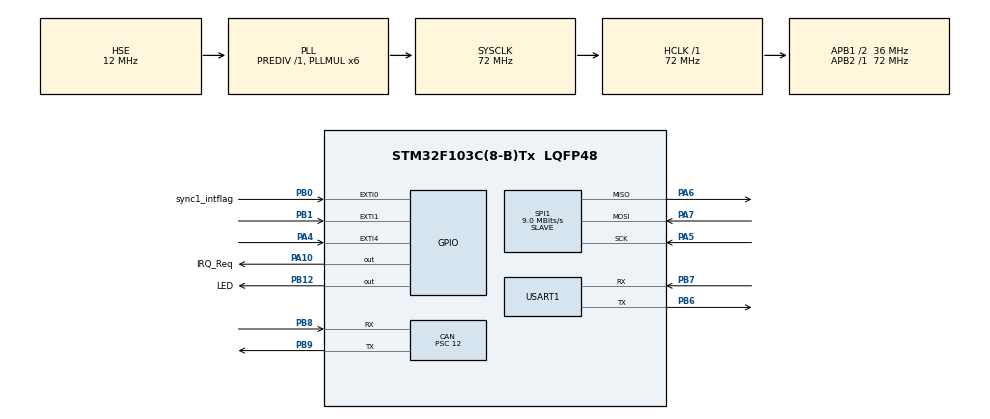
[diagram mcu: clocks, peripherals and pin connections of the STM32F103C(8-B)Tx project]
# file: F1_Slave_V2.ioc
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CAN.BS1=CAN_BS1_3TQ
CAN.BS2=CAN_BS2_2TQ
CAN.CalculateTimeBit=2000
CAN.CalculateTimeQuantum=333.33333333333337
CAN.Prescaler=12
CAN.SJW=CAN_SJW_2TQ
Dma.Request0=SPI1_RX
Dma.Request1=SPI1_TX
Dma.SPI1_RX.0.Direction=DMA_PERIPH_TO_MEMORY
Dma.SPI1_RX.0.Instance=DMA1_Channel2
Dma.SPI1_RX.0.MemDataAlignment=DMA_MDATAALIGN_BYTE
Dma.SPI1_RX.0.MemInc=DMA_MINC_ENABLE
Dma.SPI1_RX.0.Mode=DMA_NORMAL
Dma.SPI1_RX.0.PeriphDataAlignment=DMA_PDATAALIGN_BYTE
Dma.SPI1_RX.0.PeriphInc=DMA_PINC_DISABLE
Dma.SPI1_RX.0.Priority=DMA_PRIORITY_VERY_HIGH
Dma.SPI1_TX.1.Direction=DMA_MEMORY_TO_PERIPH
Dma.SPI1_TX.1.Instance=DMA1_Channel3
Dma.SPI1_TX.1.MemDataAlignment=DMA_MDATAALIGN_BYTE
Dma.SPI1_TX.1.MemInc=DMA_MINC_ENABLE
Dma.SPI1_TX.1.Mode=DMA_NORMAL
Dma.SPI1_TX.1.PeriphDataAlignment=DMA_PDATAALIGN_BYTE
Dma.SPI1_TX.1.PeriphInc=DMA_PINC_DISABLE
Dma.SPI1_TX.1.Priority=DMA_PRIORITY_VERY_HIGH
Mcu.Family=STM32F1
Mcu.Name=STM32F103C(8-B)Tx
Mcu.Package=LQFP48
NVIC.CAN1_RX1_IRQn=true\:0\:0\:false\:false\:true\:true\:true
NVIC.DMA1_Channel2_IRQn=true\:0\:0\:false\:false\:true\:false\:true
NVIC.DMA1_Channel3_IRQn=true\:0\:0\:false\:false\:true\:false\:true
NVIC.EXTI0_IRQn=true\:0\:0\:false\:false\:true\:true\:true
NVIC.EXTI1_IRQn=true\:0\:0\:false\:false\:true\:true\:true
NVIC.EXTI4_IRQn=true\:0\:0\:false\:false\:true\:true\:true
NVIC.PriorityGroup=NVIC_PRIORITYGROUP_4
NVIC.TIM4_IRQn=true\:0\:0\:false\:false\:true\:true\:true
NVIC.USB_HP_CAN1_TX_IRQn=true\:0\:0\:false\:false\:true\:true\:true
NVIC.USB_LP_CAN1_RX0_IRQn=true\:0\:0\:false\:false\:true\:true\:true
PA10.GPIO_Label=IRQ_Req
PA10.Signal=GPIO_Output
PA13.Mode=Serial_Wire
PA13.Signal=SYS_JTMS-SWDIO
PA14.Mode=Serial_Wire
PA14.Signal=SYS_JTCK-SWCLK
PA4.GPIO_ModeDefaultEXTI=GPIO_MODE_IT_RISING_FALLING
PA4.Signal=GPXTI4
PA5.Mode=Full_Duplex_Slave
PA5.Signal=SPI1_SCK
PA6.Mode=Full_Duplex_Slave
PA6.Signal=SPI1_MISO
PA7.Mode=Full_Duplex_Slave
PA7.Signal=SPI1_MOSI
PB0.GPIO_Label=sync1_intflag
PB0.Signal=GPXTI0
PB1.Signal=GPXTI1
PB12.GPIO_Label=LED
PB12.Signal=GPIO_Output
PB6.Mode=Asynchronous
PB6.Signal=USART1_TX
PB7.Mode=Asynchronous
PB7.Signal=USART1_RX
PB8.Mode=Master
PB8.Signal=CAN_RX
PB9.Mode=Master
PB9.Signal=CAN_TX
PD0-OSC_IN.Mode=HSE-External-Oscillator
PD0-OSC_IN.Signal=RCC_OSC_IN
PD1-OSC_OUT.Mode=HSE-External-Oscillator
PD1-OSC_OUT.Signal=RCC_OSC_OUT
ProjectManager.HeapSize=0x200
ProjectManager.StackSize=0x400
ProjectManager.TargetToolchain=MDK-ARM V5
RCC.AHBFreq_Value=72000000
RCC.APB1CLKDivider=RCC_HCLK_DIV2
RCC.APB1Freq_Value=36000000
RCC.APB1TimFreq_Value=72000000
RCC.APB2Freq_Value=72000000
RCC.APB2TimFreq_Value=72000000
RCC.HCLKFreq_Value=72000000
RCC.HSE_VALUE=12000000
RCC.PLLMUL=RCC_PLL_MUL6
RCC.PLLSourceVirtual=RCC_PLLSOURCE_HSE
RCC.SYSCLKFreq_VALUE=72000000
RCC.SYSCLKSource=RCC_SYSCLKSOURCE_PLLCLK
RCC.USBFreq_Value=72000000
SPI1.BaudRatePrescaler=SPI_BAUDRATEPRESCALER_8
SPI1.CalculateBaudRate=9.0 MBits/s
SPI1.Direction=SPI_DIRECTION_2LINES
SPI1.Mode=SPI_MODE_SLAVE
SPI1.VirtualNSS=VM_NSSHARD
SPI1.VirtualType=VM_SLAVE
TIM4.Period=7199
TIM4.Prescaler=9
USART1.VirtualMode=VM_ASYNC
VP_TIM4_VS_ClockSourceINT.Mode=Internal
board=custom

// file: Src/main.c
/* USER CODE BEGIN Header */
/**
  ******************************************************************************
  * @file           : main.c
  * @brief          : Main program body
  ******************************************************************************
  ** This notice applies to any and all portions of this file
  * that are not between comment pairs USER CODE BEGIN and
  * USER CODE END. Other portions of this file, whether
  * inserted by the user or by software development tools
  * are owned by their respective copyright owners.
  *
  * COPYRIGHT(c) 2019 STMicroelectronics
  *
  * Redistribution and use in source and binary forms, with or without modification,
  * are permitted provided that the following conditions are met:
  *   1. Redistributions of source code must retain the above copyright notice,
  *      this list of conditions and the following disclaimer.
  *   2. Redistributions in binary form must reproduce the above copyright notice,
  *      this list of conditions and the following disclaimer in the documentation
  *      and/or other materials provided with the distribution.
  *   3. Neither the name of STMicroelectronics nor the names of its contributors
  *      may be used to endorse or promote products derived from this software
  *      without specific prior written permission.
  *
  * THIS SOFTWARE IS PROVIDED BY THE COPYRIGHT HOLDERS AND CONTRIBUTORS "AS IS"
  * AND ANY EXPRESS OR IMPLIED WARRANTIES, INCLUDING, BUT NOT LIMITED TO, THE
  * IMPLIED WARRANTIES OF MERCHANTABILITY AND FITNESS FOR A PARTICULAR PURPOSE ARE
  * DISCLAIMED. IN NO EVENT SHALL THE COPYRIGHT HOLDER OR CONTRIBUTORS BE LIABLE
  * FOR ANY DIRECT, INDIRECT, INCIDENTAL, SPECIAL, EXEMPLARY, OR CONSEQUENTIAL
  * DAMAGES (INCLUDING, BUT NOT LIMITED TO, PROCUREMENT OF SUBSTITUTE GOODS OR
  * SERVICES; LOSS OF USE, DATA, OR PROFITS; OR BUSINESS INTERRUPTION) HOWEVER
  * CAUSED AND ON ANY THEORY OF LIABILITY, WHETHER IN CONTRACT, STRICT LIABILITY,
  * OR TORT (INCLUDING NEGLIGENCE OR OTHERWISE) ARISING IN ANY WAY OUT OF THE USE
  * OF THIS SOFTWARE, EVEN IF ADVISED OF THE POSSIBILITY OF SUCH DAMAGE.
  *
  ******************************************************************************
  */
/* USER CODE END Header */

#include "main.h"

/* USER CODE BEGIN Includes */
#include "string.h"
#include "spi_stack.h"

#define CONVERT_FAIL_STATUS 1
#define CONVERT_SUCCESS_STATUS 0

#define SPI_SYS_DBUG_MODE 0	//Set this flag to force the CAN subsytem into a simulated data exchange mode. This way we can debug the spi system in an isolated manner
//The artificial values for the sensors in the SPI debug mode
#define ENCODER_DBG_VAL   7
#define FORCE_DBG_VAL			8
/* USER CODE END Includes */

CAN_HandleTypeDef hcan;

SPI_HandleTypeDef hspi1;
DMA_HandleTypeDef hdma_spi1_rx;
DMA_HandleTypeDef hdma_spi1_tx;

TIM_HandleTypeDef htim4;

UART_HandleTypeDef huart1;

/* USER CODE BEGIN PV */
/* Private variables ---------------------------------------------------------*/

/* USER CODE END PV */

void SystemClock_Config(void);
static void MX_GPIO_Init(void);
static void MX_DMA_Init(void);
static void MX_SPI1_Init(void);
static void MX_CAN_Init(void);
static void MX_TIM4_Init(void);
static void MX_USART1_UART_Init(void);
/* USER CODE BEGIN PFP */
/* Private function prototypes -----------------------------------------------*/

/* USER CODE END PFP */

/* USER CODE BEGIN 0 */

//********************************CAN******************************
	CAN_RxHeaderTypeDef RMess;
	CAN_TxHeaderTypeDef TMess;
	uint8_t TxData[8] = {0};
 	uint8_t canRxData[8];
	uint32_t TxMailBox;
	HAL_StatusTypeDef canret;
	volatile int RX_FLAG=0, state=0;
	volatile int RPU_CAN_READ_SENSORS_REQ=0;
	int32_t CAN_CNVT_TIME;
	int LED_BeatFlag=0;
	int CAN_LINK_STATUS=CONVERT_FAIL_STATUS;
char message[32];
	union{
	struct{
	int16_t angOut;
	}Data;
	uint8_t buffer[2];
}CAN_OUT_ANG_PACK;

union{
	struct{
	int32_t enc;
	int16_t force;
	}Data;
	uint8_t buffer[6];
}CAN_IN_SIG_PACK;

//*****************************************************************
char str[100];
extern volatile int spi_tx_finish_flag, sync2_ready;
extern int LED_OFF_DELAY;
extern int LED_ON_DELAY;
extern int LED_WD;
volatile int convert_done_flag=0,sync1_intflag=0;
int32_t convert_time;
//when the Value of the sensor data is received form the RPU unit, its value is stored using this function
void reg_load_converted(void)
{
  int32_t encoder;
	int32_t force;

	if(SPI_SYS_DBUG_MODE)
	{
		encoder=ENCODER_DBG_VAL;
		force	=FORCE_DBG_VAL;
	}
	else
	{
		encoder=CAN_IN_SIG_PACK.Data.enc;
		force	=CAN_IN_SIG_PACK.Data.force;
	}
	//sprintf(message,"Force Measurement= %d \r\n",CAN_IN_SIG_PACK.Data.force);
	//HAL_UART_Transmit(&huart1,message,sizeof(message),10);
	spi_set_register(FORCE_ADDRESS,force);
	spi_set_register(ENCODER_ADDRESS,encoder);
}

//Based on wether the data transaction to the RPU has been valid or not, this function sets the status register
void setStatusReg(int status)
{
	spi_set_register(STATUS_ADDRESS,status);
	CAN_LINK_STATUS=status;
}

//This state maching handles the Motherboard-Card connection which is realized through SPI connection
void SPIStateMachine(void)
{
	static int state=0;
	switch(state)
	{
		case 0:
			if(sync1_intflag) // Start the process when an Interrupt is detected on the SYNC1 Pin
			{
				sync1_intflag=0;
				convert_time=HAL_GetTick();
				RPU_CAN_READ_SENSORS_REQ=1;//Trigger the CAN state machine to initiate a conversion and get the results.
				state=1;
			}else
			{
				state=0;
				convert_done_flag=0;
			}
			break;

		case 1:
			if(convert_done_flag==1)
			{
				convert_done_flag=0;
				reg_load_converted();
				setStatusReg(CONVERT_SUCCESS_STATUS);
				spi_out_shadow_update();
				HAL_GPIO_WritePin(IRQ_Req_GPIO_Port,IRQ_Req_Pin,GPIO_PIN_SET);
				state=4;
			}else
			{
				state=2;
			}
			break;
		case 2:
			if((HAL_GetTick()-convert_time)<100)
			{
				state=1;
			}
			else
			{
				setStatusReg(CONVERT_FAIL_STATUS);
				spi_out_shadow_update();
				HAL_GPIO_WritePin(IRQ_Req_GPIO_Port,IRQ_Req_Pin,GPIO_PIN_SET);
				state=3;
			}
			break;
		case 3:
			HAL_GPIO_WritePin(IRQ_Req_GPIO_Port,IRQ_Req_Pin,GPIO_PIN_RESET);
			state=0;
			break;
		case 4:
			HAL_GPIO_WritePin(IRQ_Req_GPIO_Port,IRQ_Req_Pin,GPIO_PIN_RESET);
			state=0;
			break;
		default:
			state=0;
	}

}
//When there is a read sensor request, this state machine handles reading them from RPU
void CAN_GET_SENSORS_SM(void)
{
	static int state=0;
	if(RPU_CAN_READ_SENSORS_REQ==1)
		{
			switch(state)
			{
				case 0:
					RX_FLAG=0;
					TMess.DLC=0x0;
					TMess.StdId=0x1;
					if(!SPI_SYS_DBUG_MODE)
						if(HAL_CAN_AddTxMessage(&hcan, &TMess, 0, &TxMailBox)!=HAL_OK){Error_Handler();} //Send the convert CMD
					CAN_CNVT_TIME=HAL_GetTick();
					state=1;
					break;

				case 1:
					if(SPI_SYS_DBUG_MODE)
						RX_FLAG=1;
					if(RX_FLAG==1){
						//Process The data Received from the Slave device
						RX_FLAG=0;
						convert_done_flag=1; //Tell the SPI supsystem that the conversion is done
						state=2;
					}
					else{
						state=3;
					}
					break;

				case 3:
					if((HAL_GetTick()-CAN_CNVT_TIME)<20)
					{
						state=1;
					}else
					{
						//No responce is received from the slave device
						RPU_CAN_READ_SENSORS_REQ=0;
						state=0;
					}
					break;

				case 2:/*
						//Write to the Analog Output of the slave device
						TMess.DLC=0x2;
						TMess.StdId=0x2;
						CAN_OUT_ANG_PACK.Data.angOut=50;
						if(HAL_CAN_AddTxMessage(&hcan, &TMess,CAN_OUT_ANG_PACK.buffer, &TxMailBox)!=HAL_OK){Error_Handler();}
						*/
						state=0;
						RPU_CAN_READ_SENSORS_REQ=0;
						break;
				default:
					state=0;
		}
	}
}
//this state machine handles sending the DAC setpoint of the RPUs through CAN BUS
void send_loaded_packs_SM(void)
{
	if(sync2_ready==1){
		sync2_ready=0;
		union
		{
			int32_t dac;
			uint8_t buff[4];
		}Outpack;
		Outpack.dac=spi_get_register(12);
		TMess.DLC=0x2;
		TMess.StdId=0x2;
		if(HAL_CAN_AddTxMessage(&hcan, &TMess,Outpack.buff, &TxMailBox)!=HAL_OK){Error_Handler();}
		}
}
/* USER CODE END 0 */

int main(void)
{
  /* USER CODE BEGIN 1 */

	//**************************CAN************************************
	TMess.RTR = CAN_RTR_DATA;
  TMess.IDE = CAN_ID_STD;
  TMess.DLC = 0x2;
	TMess.StdId=0x1;
	TMess.TransmitGlobalTime = DISABLE;

	//*****************************************************************
  /* USER CODE END 1 */

  /* MCU Configuration--------------------------------------------------------*/

  /* Reset of all peripherals, Initializes the Flash interface and the Systick. */
  HAL_Init();

  /* Configure the system clock */
  SystemClock_Config();

  /* Initialize all configured peripherals */
  MX_GPIO_Init();
  MX_DMA_Init();
  MX_SPI1_Init();
  MX_CAN_Init();
  MX_TIM4_Init();
  MX_USART1_UART_Init();
  /* USER CODE BEGIN 2 */
	spi_stack_init(&hspi1);
	HAL_TIM_Base_Start_IT(&htim4);
  /* USER CODE END 2 */

  /* Infinite loop */
  while (1)
  {

    /* USER CODE BEGIN 3 */

		if(spi_get_register(SPI_LINK_STATUS)==0x5555)
			{
				LED_WD=0;
				spi_set_rx_chache_register(SPI_LINK_STATUS,0);
				if(CAN_LINK_STATUS==CONVERT_FAIL_STATUS)
				{
					LED_ON_DELAY=200;
					LED_OFF_DELAY=200;
				}
				else
				{
					LED_ON_DELAY=100;
					LED_OFF_DELAY=1200;
				}
		  }

     SPIStateMachine();
		 CAN_GET_SENSORS_SM();
		 send_loaded_packs_SM();
  }
  /* USER CODE END 3 */
}

void SystemClock_Config(void)
{
  RCC_OscInitTypeDef RCC_OscInitStruct = {0};
  RCC_ClkInitTypeDef RCC_ClkInitStruct = {0};

  /** Initializes the CPU, AHB and APB busses clocks
  */
  RCC_OscInitStruct.OscillatorType = RCC_OSCILLATORTYPE_HSE;
  RCC_OscInitStruct.HSEState = RCC_HSE_ON;
  RCC_OscInitStruct.HSEPredivValue = RCC_HSE_PREDIV_DIV1;
  RCC_OscInitStruct.HSIState = RCC_HSI_ON;
  RCC_OscInitStruct.PLL.PLLState = RCC_PLL_ON;
  RCC_OscInitStruct.PLL.PLLSource = RCC_PLLSOURCE_HSE;
  RCC_OscInitStruct.PLL.PLLMUL = RCC_PLL_MUL6;
  if (HAL_RCC_OscConfig(&RCC_OscInitStruct) != HAL_OK)
  {
    Error_Handler();
  }
  /** Initializes the CPU, AHB and APB busses clocks
  */
  RCC_ClkInitStruct.ClockType = RCC_CLOCKTYPE_HCLK|RCC_CLOCKTYPE_SYSCLK
                              |RCC_CLOCKTYPE_PCLK1|RCC_CLOCKTYPE_PCLK2;
  RCC_ClkInitStruct.SYSCLKSource = RCC_SYSCLKSOURCE_PLLCLK;
  RCC_ClkInitStruct.AHBCLKDivider = RCC_SYSCLK_DIV1;
  RCC_ClkInitStruct.APB1CLKDivider = RCC_HCLK_DIV2;
  RCC_ClkInitStruct.APB2CLKDivider = RCC_HCLK_DIV1;

  if (HAL_RCC_ClockConfig(&RCC_ClkInitStruct, FLASH_LATENCY_2) != HAL_OK)
  {
    Error_Handler();
  }
}

static void MX_CAN_Init(void)
{

  /* USER CODE BEGIN CAN_Init 1 */
	CAN_FilterTypeDef  sFilterConfig;
	sFilterConfig.FilterBank = 0;
  sFilterConfig.FilterMode = CAN_FILTERMODE_IDMASK;
  sFilterConfig.FilterScale = CAN_FILTERSCALE_32BIT;
  sFilterConfig.FilterIdHigh = 0x0000;
  sFilterConfig.FilterIdLow = 0x0000;
  sFilterConfig.FilterMaskIdHigh = 0x0000;
  sFilterConfig.FilterMaskIdLow = 0x0000;
  sFilterConfig.FilterFIFOAssignment = CAN_RX_FIFO0;
  sFilterConfig.FilterActivation = ENABLE;

  /* USER CODE END CAN_Init 1 */
  hcan.Instance = CAN1;
  hcan.Init.Prescaler = 12;
  hcan.Init.Mode = CAN_MODE_NORMAL;
  hcan.Init.SyncJumpWidth = CAN_SJW_2TQ;
  hcan.Init.TimeSeg1 = CAN_BS1_3TQ;
  hcan.Init.TimeSeg2 = CAN_BS2_2TQ;
  hcan.Init.TimeTriggeredMode = DISABLE;
  hcan.Init.AutoBusOff = DISABLE;
  hcan.Init.AutoWakeUp = DISABLE;
  hcan.Init.AutoRetransmission = DISABLE;
  hcan.Init.ReceiveFifoLocked = DISABLE;
  hcan.Init.TransmitFifoPriority = DISABLE;
  if (HAL_CAN_Init(&hcan) != HAL_OK)
  {
    Error_Handler();
  }
  /* USER CODE BEGIN CAN_Init 2 */
	if (HAL_CAN_ConfigFilter(&hcan, &sFilterConfig) != HAL_OK)
  {
    Error_Handler();
  }
	if (HAL_CAN_Start(&hcan) != HAL_OK)
  {
    Error_Handler();
  }
	if (HAL_CAN_ActivateNotification(&hcan, CAN_IT_RX_FIFO0_MSG_PENDING) != HAL_OK)
  {
    Error_Handler();
  }
  /* USER CODE END CAN_Init 2 */

}

static void MX_SPI1_Init(void)
{

  /* SPI1 parameter configuration*/
  hspi1.Instance = SPI1;
  hspi1.Init.Mode = SPI_MODE_SLAVE;
  hspi1.Init.Direction = SPI_DIRECTION_2LINES;
  hspi1.Init.DataSize = SPI_DATASIZE_8BIT;
  hspi1.Init.CLKPolarity = SPI_POLARITY_LOW;
  hspi1.Init.CLKPhase = SPI_PHASE_1EDGE;
  hspi1.Init.NSS = SPI_NSS_SOFT;
  hspi1.Init.BaudRatePrescaler = SPI_BAUDRATEPRESCALER_8;
  hspi1.Init.FirstBit = SPI_FIRSTBIT_MSB;
  hspi1.Init.TIMode = SPI_TIMODE_DISABLE;
  hspi1.Init.CRCCalculation = SPI_CRCCALCULATION_DISABLE;
  hspi1.Init.CRCPolynomial = 10;
  if (HAL_SPI_Init(&hspi1) != HAL_OK)
  {
    Error_Handler();
  }

}

static void MX_TIM4_Init(void)
{

  TIM_ClockConfigTypeDef sClockSourceConfig = {0};
  TIM_MasterConfigTypeDef sMasterConfig = {0};

  htim4.Instance = TIM4;
  htim4.Init.Prescaler = 9;
  htim4.Init.CounterMode = TIM_COUNTERMODE_UP;
  htim4.Init.Period = 7199;
  htim4.Init.ClockDivision = TIM_CLOCKDIVISION_DIV1;
  htim4.Init.AutoReloadPreload = TIM_AUTORELOAD_PRELOAD_DISABLE;
  if (HAL_TIM_Base_Init(&htim4) != HAL_OK)
  {
    Error_Handler();
  }
  sClockSourceConfig.ClockSource = TIM_CLOCKSOURCE_INTERNAL;
  if (HAL_TIM_ConfigClockSource(&htim4, &sClockSourceConfig) != HAL_OK)
  {
    Error_Handler();
  }
  sMasterConfig.MasterOutputTrigger = TIM_TRGO_RESET;
  sMasterConfig.MasterSlaveMode = TIM_MASTERSLAVEMODE_DISABLE;
  if (HAL_TIMEx_MasterConfigSynchronization(&htim4, &sMasterConfig) != HAL_OK)
  {
    Error_Handler();
  }

}

static void MX_USART1_UART_Init(void)
{

  huart1.Instance = USART1;
  huart1.Init.BaudRate = 115200;
  huart1.Init.WordLength = UART_WORDLENGTH_8B;
  huart1.Init.StopBits = UART_STOPBITS_1;
  huart1.Init.Parity = UART_PARITY_NONE;
  huart1.Init.Mode = UART_MODE_TX_RX;
  huart1.Init.HwFlowCtl = UART_HWCONTROL_NONE;
  huart1.Init.OverSampling = UART_OVERSAMPLING_16;
  if (HAL_UART_Init(&huart1) != HAL_OK)
  {
    Error_Handler();
  }

}

static void MX_DMA_Init(void)
{
  /* DMA controller clock enable */
  __HAL_RCC_DMA1_CLK_ENABLE();

  /* DMA interrupt init */
  /* DMA1_Channel2_IRQn interrupt configuration */
  HAL_NVIC_SetPriority(DMA1_Channel2_IRQn, 0, 0);
  HAL_NVIC_EnableIRQ(DMA1_Channel2_IRQn);
  /* DMA1_Channel3_IRQn interrupt configuration */
  HAL_NVIC_SetPriority(DMA1_Channel3_IRQn, 0, 0);
  HAL_NVIC_EnableIRQ(DMA1_Channel3_IRQn);

}

static void MX_GPIO_Init(void)
{
  GPIO_InitTypeDef GPIO_InitStruct = {0};

  /* GPIO Ports Clock Enable */
  __HAL_RCC_GPIOD_CLK_ENABLE();
  __HAL_RCC_GPIOA_CLK_ENABLE();
  __HAL_RCC_GPIOB_CLK_ENABLE();

  /*Configure GPIO pin Output Level */
  HAL_GPIO_WritePin(LED_GPIO_Port, LED_Pin, GPIO_PIN_RESET);

  /*Configure GPIO pin Output Level */
  HAL_GPIO_WritePin(IRQ_Req_GPIO_Port, IRQ_Req_Pin, GPIO_PIN_RESET);

  /*Configure GPIO pin : PA4 */
  GPIO_InitStruct.Pin = GPIO_PIN_4;
  GPIO_InitStruct.Mode = GPIO_MODE_IT_RISING_FALLING;
  GPIO_InitStruct.Pull = GPIO_NOPULL;
  HAL_GPIO_Init(GPIOA, &GPIO_InitStruct);

  /*Configure GPIO pins : sync1_intflag_Pin PB1 */
  GPIO_InitStruct.Pin = sync1_intflag_Pin|GPIO_PIN_1;
  GPIO_InitStruct.Mode = GPIO_MODE_IT_RISING;
  GPIO_InitStruct.Pull = GPIO_NOPULL;
  HAL_GPIO_Init(GPIOB, &GPIO_InitStruct);

  /*Configure GPIO pin : LED_Pin */
  GPIO_InitStruct.Pin = LED_Pin;
  GPIO_InitStruct.Mode = GPIO_MODE_OUTPUT_PP;
  GPIO_InitStruct.Pull = GPIO_NOPULL;
  GPIO_InitStruct.Speed = GPIO_SPEED_FREQ_LOW;
  HAL_GPIO_Init(LED_GPIO_Port, &GPIO_InitStruct);

  /*Configure GPIO pin : IRQ_Req_Pin */
  GPIO_InitStruct.Pin = IRQ_Req_Pin;
  GPIO_InitStruct.Mode = GPIO_MODE_OUTPUT_PP;
  GPIO_InitStruct.Pull = GPIO_NOPULL;
  GPIO_InitStruct.Speed = GPIO_SPEED_FREQ_LOW;
  HAL_GPIO_Init(IRQ_Req_GPIO_Port, &GPIO_InitStruct);

  /* EXTI interrupt init*/
  HAL_NVIC_SetPriority(EXTI0_IRQn, 0, 0);
  HAL_NVIC_EnableIRQ(EXTI0_IRQn);

  HAL_NVIC_SetPriority(EXTI1_IRQn, 0, 0);
  HAL_NVIC_EnableIRQ(EXTI1_IRQn);

  HAL_NVIC_SetPriority(EXTI4_IRQn, 0, 0);
  HAL_NVIC_EnableIRQ(EXTI4_IRQn);

}

/* USER CODE BEGIN 4 */
void HAL_CAN_RxFifo0MsgPendingCallback(CAN_HandleTypeDef *hcan)
{
  if (HAL_CAN_GetRxMessage(hcan, CAN_RX_FIFO0, &RMess, canRxData) != HAL_OK)
  {
    Error_Handler();
  }

	if((RMess.StdId==0x1)&&(RMess.IDE==CAN_ID_STD)){
		RX_FLAG=1;
		memcpy(CAN_IN_SIG_PACK.buffer,canRxData,6);
	}

}
/* USER CODE END 4 */

void Error_Handler(void)
{
  while(1)
  {
  }
}

/************************ (C) COPYRIGHT STMicroelectronics *****END OF FILE****/
